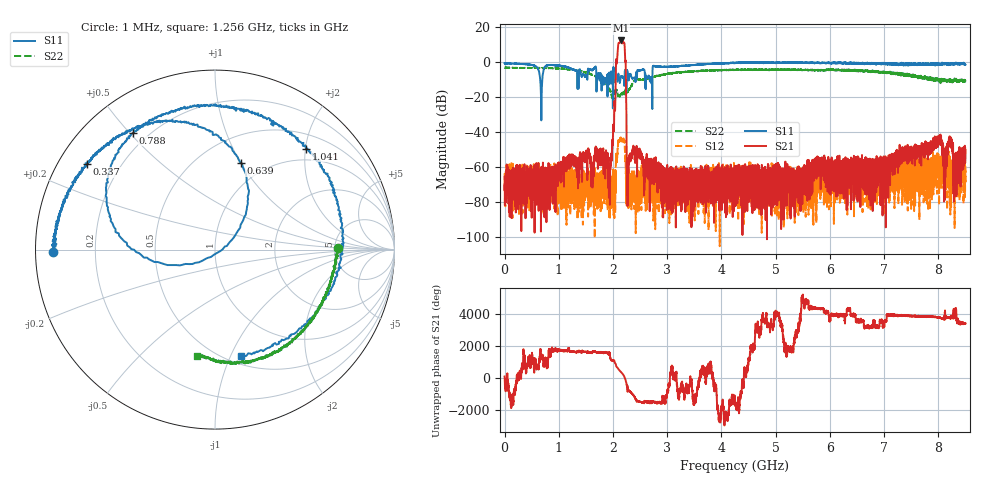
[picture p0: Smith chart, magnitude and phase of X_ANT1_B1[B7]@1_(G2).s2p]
#  HZ  S  RI  R  50.00
! Rohde & Schwarz Vector Network Analyzer
! Rohde-Schwarz,ZNBT8-20Port,1318700624101681,3.50
! Created: UTC 7/15/2025, 2:12:09 PM
! freq[Hz]  re:S1010  im:S1010  re:S0610  im:S0610  re:S1006  im:S1006  re:S66  im:S66
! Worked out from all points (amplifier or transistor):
!   8500 points, 1 MHz to 8.5 GHz, reference 50 ohm
!   highest |S21| = 12.1 dB at 2.143 GHz (marker M1)
!   |S21| within 3 dB of that: 2.095 GHz to 2.215 GHz (120.1 MHz wide, 5.57 % of centre)
!   unconditionally stable (mu >= 1): start of sweep to end of sweep
!   at 1.417 GHz: K = 1198665.45, MAG = -55.5 dB, |S12| = -74.2 dB
!   at 4.251 GHz: K = 267598.94, MAG = -62.3 dB, |S12| = -62.9 dB
!   at 8.5 GHz: K = 38149.41, MAG = -45.0 dB, |S12| = -57.9 dB
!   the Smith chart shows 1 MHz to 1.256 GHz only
!   S11 on the Smith chart (normalised r, x): 1 MHz: 0.05, -0.01; 337 MHz: 0.08, +0.30; 639 MHz: 0.77, +1.00; 788 MHz: 0.14, +0.51; 1.041 GHz: 0.76, +2.01; 1.256 GHz: 0.58, -1.09
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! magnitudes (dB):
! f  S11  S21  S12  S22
! 1 MHz  -0.9  -71.0  -63.5  -3.3
! 337 MHz  -1.3  -74.2  -69.0  -3.6
! 639 MHz  -6.0  -66.6  -75.5  -3.5
! 788 MHz  -2.0  -83.5  -73.3  -3.6
! 1.041 GHz  -2.4  -57.8  -79.5  -3.9
! 1.256 GHz  -4.3  -52.9  -72.3  -4.4
! 1.418 GHz  -8.3  -58.1  -64.7  -5.4
! 1.946 GHz  -11.7  -67.7  -68.8  -16.2
! 2.088 GHz  -9.2  6.4  -49.9  -18.5
! 2.143 GHz  -9.0  12.1  -43.5  -18.4
! 2.205 GHz  -11.7  10.7  -45.3  -17.2
! 2.292 GHz  -10.5  -56.6  -65.9  -16.1
! 2.465 GHz  -4.8  -50.3  -70.0  -10.2
! 2.834 GHz  -2.8  -61.9  -68.1  -7.9
! 4.251 GHz  -0.6  -73.0  -62.9  -4.8
! 5.667 GHz  -0.4  -61.8  -65.1  -4.8
! 7.084 GHz  -1.1  -53.3  -63.2  -6.4
! 8.009 GHz  -1.4  -44.2  -53.3  -10.1
! 8.12 GHz  -1.4  -59.0  -59.3  -10.8
! 8.231 GHz  -0.8  -43.1  -64.8  -11.3
! 8.318 GHz  -1.1  -59.4  -52.7  -10.9
! 8.5 GHz  -1.7  -50.3  -57.9  -11.1
